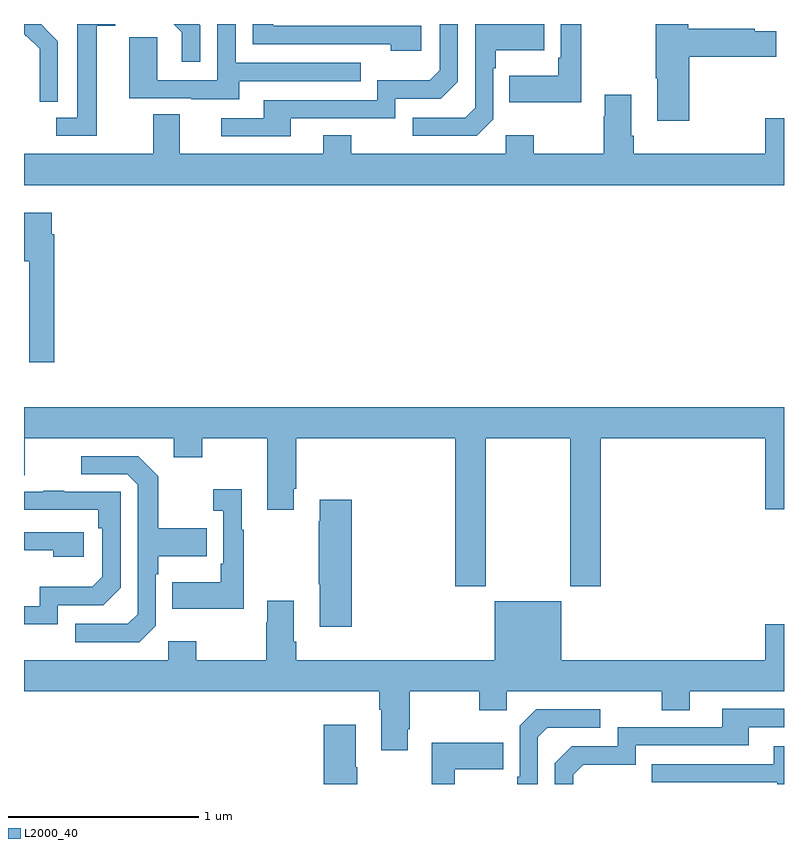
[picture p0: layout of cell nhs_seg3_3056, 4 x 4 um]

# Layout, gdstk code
import gdstk
lib = gdstk.Library(unit=1e-6, precision=1e-09)
def P(c, l, *ps):  # polygons
    for p in ps: c.add(gdstk.Polygon(p, *l))
L2000_40 = (2000, 40)

nhs_seg3_3056 = lib.new_cell('nhs_seg3_3056')
P(nhs_seg3_3056, L2000_40, [(270.403,731.904),(270.954,731.904),(270.954,732.006),(271.194,732.006),(271.284,732.096),(271.284,732.4),(271.188,732.4),(271.188,732.156),(271.135,732.103),(270.858,732.103),(270.858,732),(270.263,732),(270.263,731.904),(270.039,731.904),(270.039,731.808),(270.403,731.808)],
  [(271.933,732.4),(271.824,732.4),(271.824,732.223),(271.812,732.223),(271.812,732.127),(271.555,732.127),(271.555,731.987),(271.933,731.987)],
  [(271.47,731.898),(271.47,732.167),(271.483,732.167),(271.483,732.263),(271.739,732.263),(271.739,732.4),(271.374,732.4),(271.374,731.958),(271.323,731.907),(271.047,731.907),(271.047,731.811),(271.383,731.811)],
  [(269.928,732.394),(269.922,732.4),(269.788,732.4),(269.831,732.357),(269.831,732.201),(269.928,732.201)],
  [(269.383,732.392),(269.479,732.392),(269.479,732.4),(269.279,732.4),(269.279,731.907),(269.169,731.907),(269.169,731.811),(269.383,731.811)],
  [(270.133,732.099),(270.773,732.099),(270.773,732.195),(270.114,732.195),(270.114,732.4),(270.018,732.4),(270.018,732.105),(269.7,732.105),(269.7,732.329),(269.555,732.329),(269.555,732.009),(269.879,732.009),(269.879,732.005),(270.133,732.005)],
  [(271.09,732.39),(270.313,732.39),(270.313,732.4),(270.204,732.4),(270.204,732.294),(270.929,732.294),(270.929,732.26),(271.09,732.26)],
  [(269.178,732.31),(269.105,732.383),(269.106,732.384),(269.09,732.4),(269,732.4),(269,732.346),(269.01,732.336),(269.013,732.339),(269.084,732.269),(269.084,732.146),(269.082,732.146),(269.082,731.992),(269.178,731.992)],
  [(272.501,732.227),(272.959,732.227),(272.959,732.361),(272.846,732.361),(272.846,732.374),(272.496,732.374),(272.496,732.4),(272.326,732.4),(272.326,732.115),(272.333,732.115),(272.333,731.892),(272.501,731.892)],
  [(273,731.905),(272.9,731.905),(272.9,731.716),(272.21,731.716),(272.21,731.812),(272.197,731.812),(272.197,732.028),(272.057,732.028),(272.057,731.915),(272.05,731.915),(272.05,731.716),(271.683,731.716),(271.683,731.815),(271.536,731.815),(271.536,731.716),(270.723,731.716),(270.723,731.815),(270.575,731.815),(270.575,731.716),(269.821,731.716),(269.821,731.924),(269.681,731.924),(269.681,731.716),(269,731.716),(269,731.552),(273,731.552)],
  [(269.159,731.294),(269.146,731.294),(269.146,731.407),(269,731.407),(269,731.151),(269.027,731.151),(269.027,730.62),(269.159,730.62)],
  [(271.431,730.22),(271.876,730.22),(271.876,729.441),(272.036,729.441),(272.036,730.22),(272.9,730.22),(272.9,729.846),(273,729.846),(273,730.384),(269,730.384),(269,730.026),(269.005,730.026),(269.005,730.22),(269.789,730.22),(269.789,730.121),(269.937,730.121),(269.937,730.22),(270.281,730.22),(270.281,729.843),(270.421,729.843),(270.421,729.955),(270.434,729.955),(270.434,730.22),(271.271,730.22),(271.271,729.441),(271.431,729.441)],
  [(269.694,729.234),(269.694,729.503),(269.707,729.503),(269.707,729.599),(269.963,729.599),(269.963,729.747),(269.707,729.747),(269.707,730.019),(269.601,730.125),(269.301,730.125),(269.301,730.029),(269.544,730.029),(269.598,729.975),(269.598,729.294),(269.547,729.243),(269.271,729.243),(269.271,729.147),(269.607,729.147)],
  [(270.157,729.739),(270.145,729.739),(270.145,729.952),(269.997,729.952),(269.997,729.839),(270.048,729.839),(270.048,729.559),(270.036,729.559),(270.036,729.463),(269.779,729.463),(269.779,729.323),(270.157,729.323)],
  [(269.178,729.342),(269.418,729.342),(269.508,729.432),(269.508,729.939),(269.213,729.939),(269.213,729.944),(269.101,729.944),(269.101,729.939),(269,729.939),(269,729.843),(269.392,729.843),(269.392,729.746),(269.412,729.746),(269.412,729.492),(269.359,729.439),(269.082,729.439),(269.082,729.336),(269,729.336),(269,729.24),(269.178,729.24)],
  [(270.725,729.895),(270.557,729.895),(270.557,729.782),(270.55,729.782),(270.55,729.451),(270.557,729.451),(270.557,729.228),(270.725,729.228)],
  [(269.314,729.726),(269,729.726),(269,729.63),(269.153,729.63),(269.153,729.596),(269.314,729.596)],
  [(271.021,728.689),(271.029,728.689),(271.029,728.888),(271.396,728.888),(271.396,728.789),(271.542,728.789),(271.542,728.888),(272.356,728.888),(272.356,728.789),(272.503,728.789),(272.503,728.888),(273,728.888),(273,729.241),(272.9,729.241),(272.9,729.052),(271.828,729.052),(271.828,729.361),(271.478,729.361),(271.478,729.052),(270.434,729.052),(270.434,729.148),(270.421,729.148),(270.421,729.364),(270.281,729.364),(270.281,729.251),(270.274,729.251),(270.274,729.052),(269.907,729.052),(269.907,729.151),(269.76,729.151),(269.76,729.052),(269,729.052),(269,728.888),(270.869,728.888),(270.869,728.792),(270.881,728.792),(270.881,728.577),(271.021,728.577)],
  [(271.89,728.448),(271.943,728.501),(272.22,728.501),(272.22,728.604),(272.815,728.604),(272.815,728.7),(273,728.7),(273,728.796),(272.675,728.796),(272.675,728.7),(272.124,728.7),(272.124,728.598),(271.884,728.598),(271.794,728.508),(271.794,728.4),(271.89,728.4)],
  [(271.704,728.646),(271.755,728.697),(272.032,728.697),(272.032,728.793),(271.695,728.793),(271.608,728.706),(271.608,728.437),(271.596,728.437),(271.596,728.4),(271.704,728.4)],
  [(270.753,728.489),(270.745,728.489),(270.745,728.713),(270.578,728.713),(270.578,728.4),(270.753,728.4)],
  [(271.267,728.477),(271.523,728.477),(271.523,728.617),(271.146,728.617),(271.146,728.4),(271.267,728.4)],
  [(273,728.599),(272.945,728.599),(272.945,728.505),(272.305,728.505),(272.305,728.409),(272.964,728.409),(272.964,728.4),(273,728.4)])

lib.write_gds('nhs_seg3_3056.gds')
